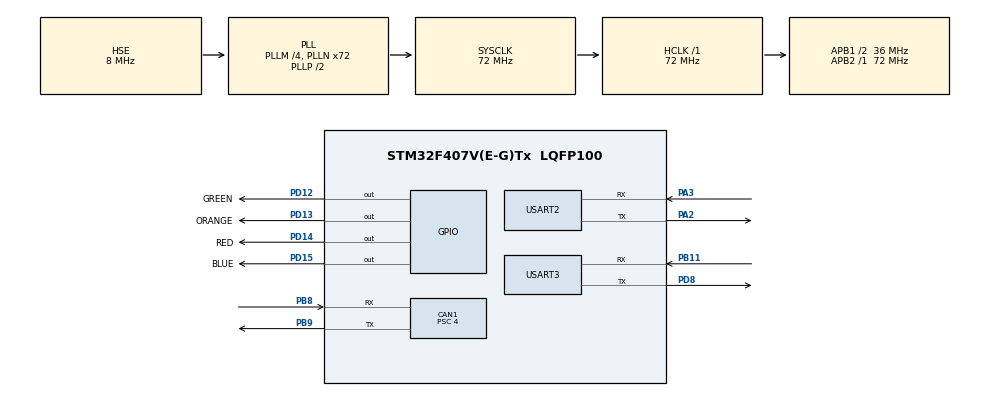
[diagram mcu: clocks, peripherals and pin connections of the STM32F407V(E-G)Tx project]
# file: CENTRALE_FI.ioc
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CAN1.BS1=CAN_BS1_7TQ
CAN1.CalculateBaudRate=1000000
CAN1.CalculateTimeBit=1000
CAN1.CalculateTimeQuantum=111.11111111111111
CAN1.Prescaler=4
Mcu.Family=STM32F4
Mcu.Name=STM32F407V(E-G)Tx
Mcu.Package=LQFP100
NVIC.CAN1_RX0_IRQn=true\:0\:0\:false\:false\:true\:true\:true\:true
NVIC.PriorityGroup=NVIC_PRIORITYGROUP_4
NVIC.USART2_IRQn=true\:1\:0\:true\:false\:true\:true\:true\:true
NVIC.USART3_IRQn=true\:2\:0\:true\:false\:true\:true\:true\:true
PA2.Mode=Asynchronous
PA2.Signal=USART2_TX
PA3.GPIO_PuPd=GPIO_PULLUP
PA3.Mode=Asynchronous
PA3.Signal=USART2_RX
PB11.GPIO_PuPd=GPIO_PULLUP
PB11.Mode=Asynchronous
PB11.Signal=USART3_RX
PB8.GPIO_PuPd=GPIO_PULLUP
PB8.Mode=CAN_Activate
PB8.Signal=CAN1_RX
PB9.GPIO_PuPd=GPIO_PULLUP
PB9.Mode=CAN_Activate
PB9.Signal=CAN1_TX
PD12.GPIO_Label=GREEN
PD12.GPIO_PuPd=GPIO_PULLDOWN
PD12.Signal=GPIO_Output
PD13.GPIO_Label=ORANGE
PD13.GPIO_PuPd=GPIO_PULLDOWN
PD13.Signal=GPIO_Output
PD14.GPIO_Label=RED
PD14.GPIO_PuPd=GPIO_PULLDOWN
PD14.Signal=GPIO_Output
PD15.GPIO_Label=BLUE
PD15.GPIO_PuPd=GPIO_PULLDOWN
PD15.Signal=GPIO_Output
PD8.Mode=Asynchronous
PD8.Signal=USART3_TX
PH0-OSC_IN.Mode=HSE-External-Oscillator
PH0-OSC_IN.Signal=RCC_OSC_IN
PH1-OSC_OUT.Mode=HSE-External-Oscillator
PH1-OSC_OUT.Signal=RCC_OSC_OUT
ProjectManager.HeapSize=0x200
ProjectManager.StackSize=0x400
ProjectManager.TargetToolchain=STM32CubeIDE
RCC.48MHZClocksFreq_Value=36000000
RCC.AHBFreq_Value=72000000
RCC.APB1CLKDivider=RCC_HCLK_DIV2
RCC.APB1Freq_Value=36000000
RCC.APB1TimFreq_Value=72000000
RCC.APB2Freq_Value=72000000
RCC.APB2TimFreq_Value=72000000
RCC.CortexFreq_Value=72000000
RCC.HCLKFreq_Value=72000000
RCC.HSE_VALUE=8000000
RCC.HSI_VALUE=16000000
RCC.LSE_VALUE=32768
RCC.PLLM=4
RCC.PLLN=72
RCC.PLLSourceVirtual=RCC_PLLSOURCE_HSE
RCC.SYSCLKFreq_VALUE=72000000
RCC.SYSCLKSource=RCC_SYSCLKSOURCE_PLLCLK
RCC.VCOOutputFreq_Value=144000000
USART2.VirtualMode=VM_ASYNC
USART3.VirtualMode=VM_ASYNC
board=custom

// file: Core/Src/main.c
/* USER CODE BEGIN Header */
/**
  ******************************************************************************
  * @file           : main.c
  * @brief          : Main program body
  ******************************************************************************
  * @attention
  *
  * Copyright (c) 2024 STMicroelectronics.
  * All rights reserved.
  *
  * This software is licensed under terms that can be found in the LICENSE file
  * in the root directory of this software component.
  * If no LICENSE file comes with this software, it is provided AS-IS.
  *
  ******************************************************************************
  */
/* USER CODE END Header */
#include "main.h"

/* USER CODE BEGIN Includes */

#include "ESPDataLogger.h"

/* USER CODE END Includes */

CAN_HandleTypeDef hcan1;

UART_HandleTypeDef huart2;
UART_HandleTypeDef huart3;

/* USER CODE BEGIN PV */

CAN_HandleTypeDef hcan1;
CAN_FilterTypeDef Filtercan1;
CAN_RxHeaderTypeDef pRxHeader;
CAN_TxHeaderTypeDef pTxHeader;
uint8_t aTxData[8];
uint8_t RxData[6];

char datacheck = 0;
uint16_t value_buff[5];
uint8_t U_buff[6];
uint8_t U_buffrx[2];
char ind = 0;
char indr = 0;

/* USER CODE END PV */

void SystemClock_Config(void);
static void MX_GPIO_Init(void);
static void MX_CAN1_Init(void);
static void MX_USART2_UART_Init(void);
static void MX_USART3_UART_Init(void);

/* USER CODE BEGIN 0 */

void HAL_UART_TxCpltCallback(UART_HandleTypeDef *huart)
{
	ind = 1;
	//HAL_UART_Transmit_IT(&huart3, U_buff ,sizeof (U_buff));
}

void HAL_UART_RxCpltCallback(UART_HandleTypeDef *huart)
{
	//indr=1;
	if (HAL_UART_Receive_IT(&huart3, U_buffrx,sizeof (U_buffrx))!= HAL_OK)
		  {
		    Error_Handler();
		  }

	aTxData[5]= U_buffrx[0];
	aTxData[6]= U_buffrx[1];
}

/* USER CODE END 0 */

int main(void)
{

  /* MCU Configuration--------------------------------------------------------*/

  /* Reset of all peripherals, Initializes the Flash interface and the Systick. */
  HAL_Init();

  /* Configure the system clock */
  SystemClock_Config();

  /* Initialize all configured peripherals */
  MX_GPIO_Init();
  MX_CAN1_Init();
  MX_USART2_UART_Init();
  MX_USART3_UART_Init();
  /* USER CODE BEGIN 2 */

           Filtercan1.FilterIdHigh = 0x00;
           Filtercan1.FilterIdLow = 0x00;
           Filtercan1.FilterMaskIdHigh = 0x00;
           Filtercan1. FilterMaskIdLow = 0x00;
           Filtercan1.FilterFIFOAssignment = CAN_FILTER_FIFO0;
           Filtercan1.FilterBank = 0x00;
           Filtercan1.FilterMode = CAN_FILTERMODE_IDMASK;
           Filtercan1.FilterScale = CAN_FILTERSCALE_32BIT;
           Filtercan1.FilterActivation = CAN_FILTER_ENABLE;
           Filtercan1.SlaveStartFilterBank = 14;
           if (HAL_CAN_ConfigFilter(&hcan1, &Filtercan1)!= HAL_OK)
        		  {
        		    Error_Handler();
        		  }
          if (HAL_CAN_Start(&hcan1)!= HAL_OK)
        		  {
        		    Error_Handler();
        		  }
          if (HAL_CAN_ActivateNotification(&hcan1,CAN_IT_RX_FIFO0_MSG_PENDING)!= HAL_OK)
        		  {
        		    Error_Handler();
        		  }

          ESP_Init("OPPO A15","azertyiot123");

          if (HAL_UART_Transmit_IT(&huart3, U_buff ,sizeof (U_buff))!= HAL_OK)
		  {
		    Error_Handler();
		  }

          if (HAL_UART_Receive_IT(&huart3, U_buffrx,sizeof (U_buffrx))!= HAL_OK)
		  {
		    Error_Handler();
		  }

		        pTxHeader.DLC=7;
		   	    pTxHeader.ExtId=0;
		   	    pTxHeader.IDE=CAN_ID_STD;
		   	    pTxHeader.StdId=3;
		   	    pTxHeader.RTR=CAN_RTR_DATA;
		   	    pTxHeader.TransmitGlobalTime = DISABLE;
  /* USER CODE END 2 */

  /* Infinite loop */
  /* USER CODE BEGIN WHILE */
  while (1)
  {

	     if (ind == 1)
	  	  {
		     ind=0;
		     if (HAL_UART_Transmit_IT(&huart3, U_buff ,sizeof (U_buff))!= HAL_OK)
   		  {
   		    Error_Handler();
   		  }
	  	  }

	 /* if (indr == 1)
	  	  	  {
	  		     indr=0;
	  		   HAL_UART_Receive_IT(&huart3, U_buffrx,sizeof (U_buffrx));
	  	  	  }
	  */
	          //HAL_UART_Transmit(&huart3, U_buff, 5, 10);
	         // HAL_Delay(200);
			  ESP_Send_Multi("YQEDZ9DS0A7P8PD1",5, value_buff);
			  HAL_Delay(3000);

			  if (HAL_CAN_AddTxMessage(&hcan1,&pTxHeader,aTxData,(uint32_t *)CAN_TX_MAILBOX0)!= HAL_OK)
			  	  	     {
			  	  	    Error_Handler();
			  	  	     }
			  HAL_Delay(750);

    /* USER CODE END WHILE */

  }
}

void SystemClock_Config(void)
{
  RCC_OscInitTypeDef RCC_OscInitStruct = {0};
  RCC_ClkInitTypeDef RCC_ClkInitStruct = {0};

  /** Configure the main internal regulator output voltage
  */
  __HAL_RCC_PWR_CLK_ENABLE();
  __HAL_PWR_VOLTAGESCALING_CONFIG(PWR_REGULATOR_VOLTAGE_SCALE1);

  /** Initializes the RCC Oscillators according to the specified parameters
  * in the RCC_OscInitTypeDef structure.
  */
  RCC_OscInitStruct.OscillatorType = RCC_OSCILLATORTYPE_HSE;
  RCC_OscInitStruct.HSEState = RCC_HSE_ON;
  RCC_OscInitStruct.PLL.PLLState = RCC_PLL_ON;
  RCC_OscInitStruct.PLL.PLLSource = RCC_PLLSOURCE_HSE;
  RCC_OscInitStruct.PLL.PLLM = 4;
  RCC_OscInitStruct.PLL.PLLN = 72;
  RCC_OscInitStruct.PLL.PLLP = RCC_PLLP_DIV2;
  RCC_OscInitStruct.PLL.PLLQ = 4;
  if (HAL_RCC_OscConfig(&RCC_OscInitStruct) != HAL_OK)
  {
    Error_Handler();
  }

  /** Initializes the CPU, AHB and APB buses clocks
  */
  RCC_ClkInitStruct.ClockType = RCC_CLOCKTYPE_HCLK|RCC_CLOCKTYPE_SYSCLK
                              |RCC_CLOCKTYPE_PCLK1|RCC_CLOCKTYPE_PCLK2;
  RCC_ClkInitStruct.SYSCLKSource = RCC_SYSCLKSOURCE_PLLCLK;
  RCC_ClkInitStruct.AHBCLKDivider = RCC_SYSCLK_DIV1;
  RCC_ClkInitStruct.APB1CLKDivider = RCC_HCLK_DIV2;
  RCC_ClkInitStruct.APB2CLKDivider = RCC_HCLK_DIV1;

  if (HAL_RCC_ClockConfig(&RCC_ClkInitStruct, FLASH_LATENCY_2) != HAL_OK)
  {
    Error_Handler();
  }
}

static void MX_CAN1_Init(void)
{

  hcan1.Instance = CAN1;
  hcan1.Init.Prescaler = 4;
  hcan1.Init.Mode = CAN_MODE_NORMAL;
  hcan1.Init.SyncJumpWidth = CAN_SJW_1TQ;
  hcan1.Init.TimeSeg1 = CAN_BS1_7TQ;
  hcan1.Init.TimeSeg2 = CAN_BS2_1TQ;
  hcan1.Init.TimeTriggeredMode = DISABLE;
  hcan1.Init.AutoBusOff = DISABLE;
  hcan1.Init.AutoWakeUp = DISABLE;
  hcan1.Init.AutoRetransmission = DISABLE;
  hcan1.Init.ReceiveFifoLocked = DISABLE;
  hcan1.Init.TransmitFifoPriority = DISABLE;
  if (HAL_CAN_Init(&hcan1) != HAL_OK)
  {
    Error_Handler();
  }

}

static void MX_USART2_UART_Init(void)
{

  huart2.Instance = USART2;
  huart2.Init.BaudRate = 115200;
  huart2.Init.WordLength = UART_WORDLENGTH_8B;
  huart2.Init.StopBits = UART_STOPBITS_1;
  huart2.Init.Parity = UART_PARITY_NONE;
  huart2.Init.Mode = UART_MODE_TX_RX;
  huart2.Init.HwFlowCtl = UART_HWCONTROL_NONE;
  huart2.Init.OverSampling = UART_OVERSAMPLING_16;
  if (HAL_UART_Init(&huart2) != HAL_OK)
  {
    Error_Handler();
  }

}

static void MX_USART3_UART_Init(void)
{

  huart3.Instance = USART3;
  huart3.Init.BaudRate = 115200;
  huart3.Init.WordLength = UART_WORDLENGTH_8B;
  huart3.Init.StopBits = UART_STOPBITS_1;
  huart3.Init.Parity = UART_PARITY_NONE;
  huart3.Init.Mode = UART_MODE_TX_RX;
  huart3.Init.HwFlowCtl = UART_HWCONTROL_NONE;
  huart3.Init.OverSampling = UART_OVERSAMPLING_16;
  if (HAL_UART_Init(&huart3) != HAL_OK)
  {
    Error_Handler();
  }

}

static void MX_GPIO_Init(void)
{
  GPIO_InitTypeDef GPIO_InitStruct = {0};

  /* GPIO Ports Clock Enable */
  __HAL_RCC_GPIOH_CLK_ENABLE();
  __HAL_RCC_GPIOA_CLK_ENABLE();
  __HAL_RCC_GPIOB_CLK_ENABLE();
  __HAL_RCC_GPIOD_CLK_ENABLE();

  /*Configure GPIO pin Output Level */
  HAL_GPIO_WritePin(GPIOD, GREEN_Pin|ORANGE_Pin|RED_Pin|BLUE_Pin, GPIO_PIN_RESET);

  /*Configure GPIO pins : GREEN_Pin ORANGE_Pin RED_Pin BLUE_Pin */
  GPIO_InitStruct.Pin = GREEN_Pin|ORANGE_Pin|RED_Pin|BLUE_Pin;
  GPIO_InitStruct.Mode = GPIO_MODE_OUTPUT_PP;
  GPIO_InitStruct.Pull = GPIO_PULLDOWN;
  GPIO_InitStruct.Speed = GPIO_SPEED_FREQ_LOW;
  HAL_GPIO_Init(GPIOD, &GPIO_InitStruct);

}

/* USER CODE BEGIN 4 */

void HAL_CAN_RxFifo0MsgPendingCallback(CAN_HandleTypeDef *hcan)
{
	if (HAL_CAN_GetRxMessage(hcan, CAN_RX_FIFO0,&pRxHeader,RxData)!= HAL_OK)
		  {
		     Error_Handler();
		  }

	if (pRxHeader.StdId == 0x001)
		  {
		value_buff[0]= RxData[0];
		value_buff[1]= RxData[1];
		value_buff[2]= RxData[2];
		value_buff[3]= RxData[3];
		value_buff[4]= (RxData[4]*2097)/255;

		        U_buff[0]= RxData[0];
				U_buff[1]= RxData[1];
				U_buff[2]= RxData[2];
				U_buff[3]= RxData[3];
				U_buff[4]= RxData[4];

		datacheck = 1;
		  }
	if (pRxHeader.StdId == 0x002)
		  {
		        U_buff[5]=RxData[5];
		  }

}

/* USER CODE END 4 */

void Error_Handler(void)
{
  __disable_irq();
  while (1)
  {
  }
}
